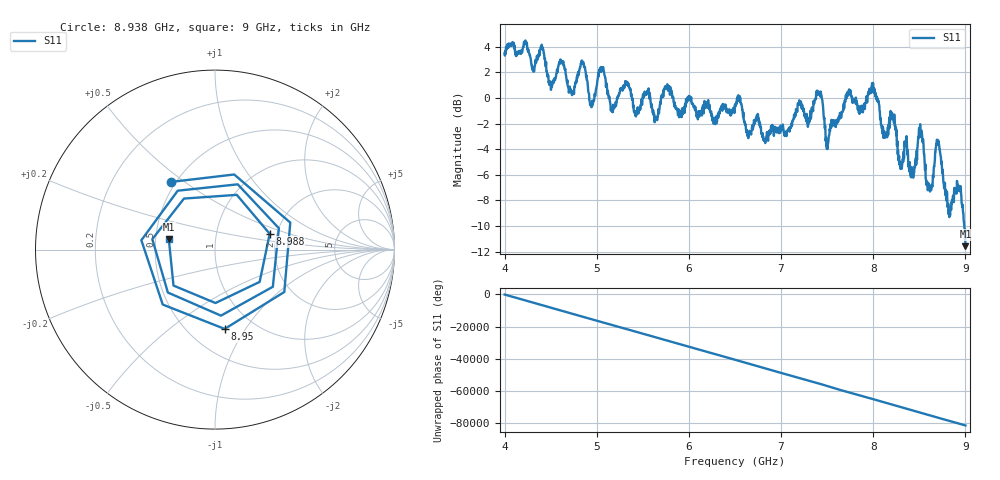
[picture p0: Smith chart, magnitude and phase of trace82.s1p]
! Created with skrf 1.8.0 (http://scikit-rf.org).
# Hz S RI R 50.0
!freq ReS11 ImS11
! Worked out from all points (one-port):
!   1601 points, 4 GHz to 9 GHz, reference 50 ohm
!   lowest |S11| = -11.6 dB at 9 GHz (marker M1), VSWR 1.72, Z = 29.4 + j3.64 ohm
!   |S11| at or under -10 dB: 8.988266 GHz to end of sweep
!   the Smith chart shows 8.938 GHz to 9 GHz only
!   S11 on the Smith chart (normalised r, x): 8.938 GHz: 0.47, +0.45; 8.95 GHz: 0.74, -0.81; 8.988 GHz: 1.83, +0.36; 9 GHz: 0.59, +0.07
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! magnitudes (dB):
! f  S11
! 4 GHz  3.5
! 4.503 GHz  0.6
! 4.625 GHz  2.9
! 4.728 GHz  0.4
! 4.853 GHz  2.8
! 4.944 GHz  -0.6
! 5.05 GHz  2.1
! 5.169 GHz  -1.1
! 5.25 GHz  0.5
! 5.875 GHz  -0.9
! 6.5 GHz  -0.5
! 6.819 GHz  -3.2
! 7.125 GHz  -1.8
! 7.409 GHz  0.5
! 7.506 GHz  -3.6
! 7.75 GHz  0.4
! 8.003 GHz  0.6
! 8.112 GHz  -2.6
! 8.375 GHz  -4.1
! 8.428 GHz  -6.1
! 8.516 GHz  -3.1
! 8.603 GHz  -7.0
! 8.697 GHz  -3.3
! 8.822 GHz  -8.7
! 8.938 GHz  -7.0
! 8.95 GHz  -7.0
! 8.988 GHz  -10.0
! 9 GHz  -11.6
